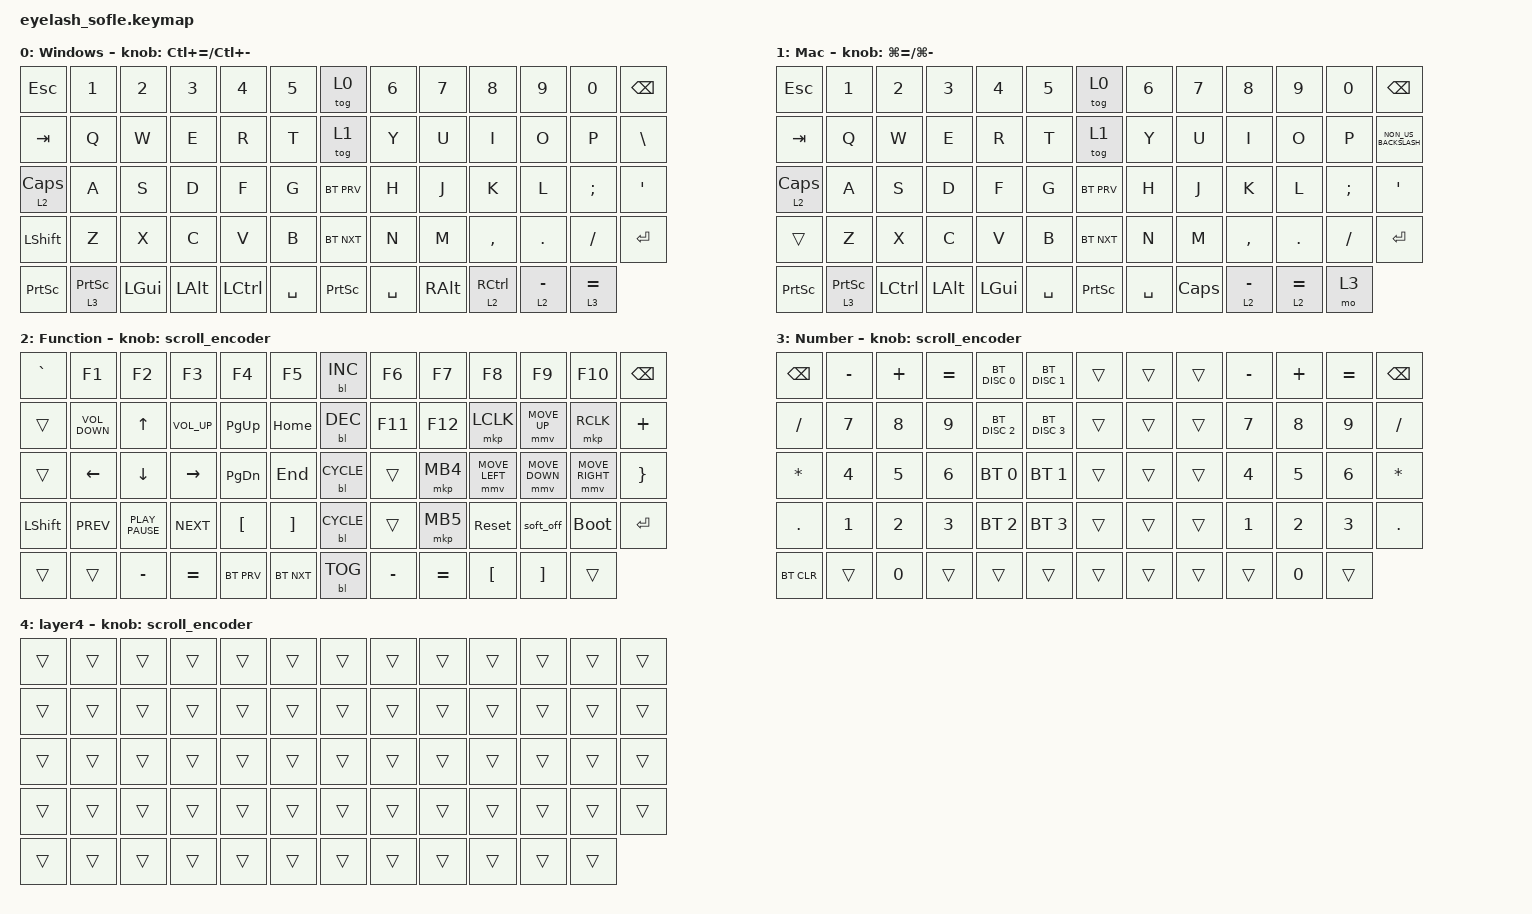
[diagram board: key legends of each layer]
#define ZMK_POINTING_DEFAULT_MOVE_VAL 1200  // 600
#define ZMK_POINTING_DEFAULT_SCRL_VAL 25   // 10

#include <input/processors.dtsi>
#include <zephyr/dt-bindings/input/input-event-codes.h>
#include <behaviors.dtsi>
#include <dt-bindings/zmk/backlight.h>
#include <dt-bindings/zmk/bt.h>
#include <dt-bindings/zmk/keys.h>
#include <dt-bindings/zmk/pointing.h>

&mmv_input_listener { input-processors = <&zip_xy_scaler 2 1>; };

&msc_input_listener { input-processors = <&zip_scroll_scaler 2 1>; };

&msc {
    acceleration-exponent = <1>;      // 0
    time-to-max-speed-ms = <100>;       // 300
    delay-ms = <0>;                   // 0
};

&mmv {
    time-to-max-speed-ms = <500>;
    acceleration-exponent = <1>;
    trigger-period-ms = <16>;
};

&soft_off { hold-time-ms = <2000>; };

/ {
    scroll_encoder: scroll_encoder {
        compatible = "zmk,behavior-sensor-rotate";
        #sensor-binding-cells = <0>;
        bindings = <&msc SCRL_DOWN>, <&msc SCRL_UP>;

        tap-ms = <100>;
    };

    behaviors {
    };

    combos {
        compatible = "zmk,combos";

        softoff {
            bindings = <&soft_off>;
            key-positions = <14 28 40>;
        };
    };

    keymap {
        compatible = "zmk,keymap";

        Windows {
            bindings = <
&kp ESC          &kp N1             &kp N2        &kp N3        &kp N4            &kp N5       &tog 0           &kp N6     &kp N7         &kp N8               &kp N9       &kp N0       &kp BACKSPACE
&kp TAB          &kp Q              &kp W         &kp E         &kp R             &kp T        &tog 1           &kp Y      &kp U          &kp I                &kp O        &kp P        &kp BSLH
&lt 2 CAPSLOCK   &kp A              &kp S         &kp D         &kp F             &kp G        &bt BT_PRV       &kp H      &kp J          &kp K                &kp L        &kp SEMI     &kp APOS
&kp LSHFT        &kp Z              &kp X         &kp C         &kp V             &kp B        &bt BT_NXT       &kp N      &kp M          &kp COMMA            &kp DOT      &kp FSLH     &kp ENTER
&kp PRINTSCREEN  &lt 3 PRINTSCREEN  &kp LEFT_GUI  &kp LEFT_ALT  &kp LEFT_CONTROL  &kp SPACE    &kp PRINTSCREEN  &kp SPACE  &kp RIGHT_ALT  &lt 2 RIGHT_CONTROL  &lt 2 MINUS  &lt 3 EQUAL
            >;

            sensor-bindings = <&inc_dec_kp LC(EQUAL) LC(MINUS)>;
            display-name = "Windows";
        };

        Mac {
            bindings = <
&kp ESCAPE       &kp NUMBER_1       &kp NUMBER_2      &kp NUMBER_3  &kp NUMBER_4  &kp N5       &tog 0           &kp NUMBER_6  &kp N7    &kp N8       &kp N9       &kp N0         &kp BACKSPACE
&kp TAB          &kp Q              &kp W             &kp E         &kp R         &kp T        &tog 1           &kp Y         &kp U     &kp I        &kp O        &kp P          &kp NON_US_BACKSLASH
&lt 2 CLCK       &kp A              &kp S             &kp D         &kp F         &kp G        &bt BT_PRV       &kp H         &kp J     &kp K        &kp L        &kp SEMICOLON  &kp SQT
&trans           &kp Z              &kp X             &kp C         &kp V         &kp B        &bt BT_NXT       &kp N         &kp M     &kp COMMA    &kp PERIOD   &kp SLASH      &kp ENTER
&kp PRINTSCREEN  &lt 3 PRINTSCREEN  &kp LEFT_CONTROL  &kp LEFT_ALT  &kp LEFT_GUI  &kp SPACE    &kp PRINTSCREEN  &kp SPACE     &kp CLCK  &lt 2 MINUS  &lt 2 EQUAL  &mo 3
            >;

            display-name = "Mac";
            sensor-bindings = <&inc_dec_kp LG(EQUAL) LG(MINUS)>;
        };

        Function {
            bindings = <
&kp GRAVE       &kp F1             &kp F2            &kp F3           &kp F4            &kp F5               &bl BL_INC    &kp F6     &kp F7     &kp F8            &kp F9             &kp F10          &kp BACKSPACE
&trans          &kp C_VOLUME_DOWN  &kp UP_ARROW      &kp C_VOLUME_UP  &kp PAGE_UP       &kp HOME             &bl BL_DEC    &kp F11    &kp F12    &mkp LCLK         &mmv MOVE_UP       &mkp RCLK        &kp PLUS
&trans          &kp LEFT_ARROW     &kp DOWN_ARROW    &kp RIGHT_ARROW  &kp PAGE_DOWN     &kp END              &bl BL_CYCLE  &trans     &mkp MB4   &mmv MOVE_LEFT    &mmv MOVE_DOWN     &mmv MOVE_RIGHT  &kp RBRC
&kp LEFT_SHIFT  &kp K_PREV         &kp K_PLAY_PAUSE  &kp K_NEXT       &kp LEFT_BRACKET  &kp RIGHT_BRACKET    &bl BL_CYCLE  &trans     &mkp MB5   &sys_reset        &soft_off          &bootloader      &kp ENTER
&trans          &trans             &kp MINUS         &kp EQUAL        &bt BT_PRV        &bt BT_NXT           &bl BL_TOG    &kp MINUS  &kp EQUAL  &kp LEFT_BRACKET  &kp RIGHT_BRACKET  &trans
            >;

            display-name = "Function";
            sensor-bindings = <&scroll_encoder>;
        };

        Number {
            bindings = <
&kp BACKSPACE  &kp MINUS     &kp PLUS      &kp EQUAL     &bt BT_DISC 0  &bt BT_DISC 1    &trans  &trans  &trans  &kp MINUS     &kp PLUS      &kp EQUAL     &kp BACKSPACE
&kp SLASH      &kp N7        &kp N8        &kp N9        &bt BT_DISC 2  &bt BT_DISC 3    &trans  &trans  &trans  &kp N7        &kp N8        &kp N9        &kp SLASH
&kp ASTERISK   &kp NUMBER_4  &kp N5        &kp NUMBER_6  &bt BT_SEL 0   &bt BT_SEL 1     &trans  &trans  &trans  &kp NUMBER_4  &kp N5        &kp NUMBER_6  &kp ASTERISK
&kp PERIOD     &kp NUMBER_1  &kp NUMBER_2  &kp NUMBER_3  &bt BT_SEL 2   &bt BT_SEL 3     &trans  &trans  &trans  &kp NUMBER_1  &kp NUMBER_2  &kp NUMBER_3  &kp PERIOD
&bt BT_CLR     &trans        &kp N0        &trans        &trans         &trans           &trans  &trans  &trans  &trans        &kp N0        &trans
            >;

            display-name = "Number";
            sensor-bindings = <&scroll_encoder>;
        };

        layer_4 {
            bindings = <
&trans  &trans  &trans  &trans  &trans  &trans    &trans  &trans  &trans  &trans  &trans  &trans  &trans
&trans  &trans  &trans  &trans  &trans  &trans    &trans  &trans  &trans  &trans  &trans  &trans  &trans
&trans  &trans  &trans  &trans  &trans  &trans    &trans  &trans  &trans  &trans  &trans  &trans  &trans
&trans  &trans  &trans  &trans  &trans  &trans    &trans  &trans  &trans  &trans  &trans  &trans  &trans
&trans  &trans  &trans  &trans  &trans  &trans    &trans  &trans  &trans  &trans  &trans  &trans
            >;

            display-name = "layer4";
            sensor-bindings = <&scroll_encoder>;
        };
    };
};
